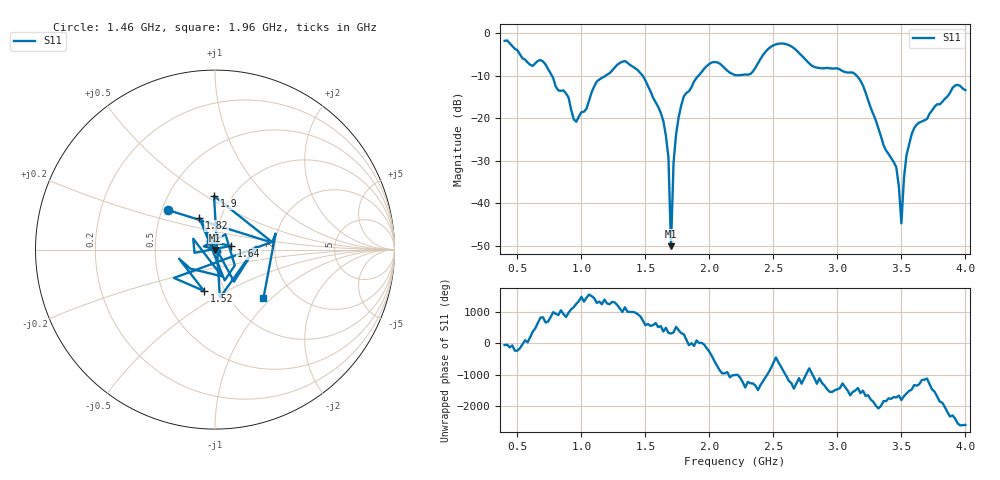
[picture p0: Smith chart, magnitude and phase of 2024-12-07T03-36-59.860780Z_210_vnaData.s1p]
!Created with skrf (http://scikit-rf.org).
# Hz S RI R 50.0
!freq ReS11 ImS11
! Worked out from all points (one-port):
!   181 points, 400 MHz to 4 GHz, reference 50 ohm
!   lowest |S11| = -50.1 dB at 1.7 GHz (marker M1), VSWR 1.01, Z = 50.2 - j0.241 ohm
!   |S11| at or under -10 dB: 769.2 MHz to 1.19 GHz (421.1 MHz wide, 43 % of centre); 1.479 GHz to 1.916 GHz (436.7 MHz wide, 25.7 % of centre); 3.15 GHz to end of sweep
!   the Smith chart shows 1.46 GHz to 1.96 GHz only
!   S11 on the Smith chart (normalised r, x): 1.46 GHz: 0.54, +0.27; 1.52 GHz: 0.80, -0.39; 1.64 GHz: 1.20, +0.05; 1.82 GHz: 0.79, +0.29; 1.9 GHz: 0.83, +0.54; 1.96 GHz: 1.41, -0.89
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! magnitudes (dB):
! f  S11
! 400 MHz  -1.8
! 700 MHz  -6.7
! 860 MHz  -13.5
! 960 MHz  -20.8
! 1.12 GHz  -11.4
! 1.3 GHz  -7.0
! 1.46 GHz  -9.4
! 1.52 GHz  -12.5
! 1.64 GHz  -20.7
! 1.68 GHz  -29.2
! 1.7 GHz  -50.1
! 1.72 GHz  -30.3
! 1.76 GHz  -19.7
! 1.82 GHz  -14.1
! 1.9 GHz  -10.5
! 1.96 GHz  -8.3
! 2.2 GHz  -9.9
! 2.32 GHz  -9.6
! 2.5 GHz  -2.9
! 2.66 GHz  -3.5
! 3.1 GHz  -9.3
! 3.2 GHz  -12.3
! 3.46 GHz  -31.6
! 3.5 GHz  -44.7
! 3.52 GHz  -34.1
! 3.56 GHz  -26.2
! 3.9 GHz  -12.9
! 4 GHz  -13.4
